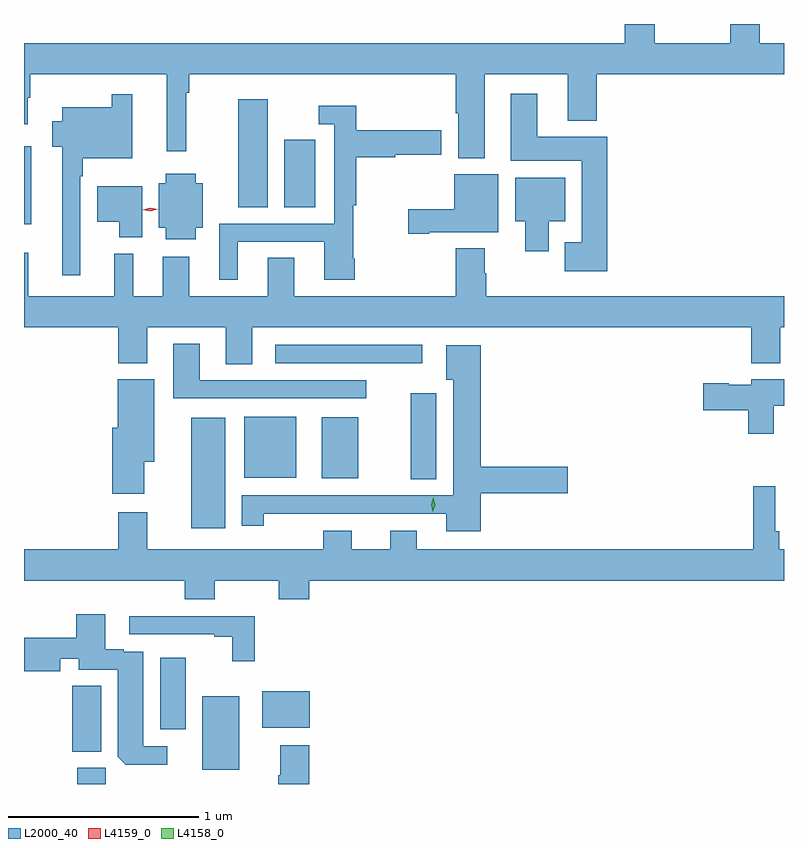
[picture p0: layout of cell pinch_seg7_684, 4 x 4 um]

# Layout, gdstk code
import gdstk
lib = gdstk.Library(unit=1e-6, precision=1e-09)
def R(c, l, rs):  # rectangles x0, y0, x1, y1
    for r in rs: c.add(gdstk.rectangle(r[:2], r[2:], *l))
def P(c, l, *ps):  # polygons
    for p in ps: c.add(gdstk.Polygon(p, *l))
L2000_40 = (2000, 40)
L4158_0 = (4158, 0)
L4159_0 = (4159, 0)

pinch_seg7_684 = lib.new_cell('pinch_seg7_684')
R(pinch_seg7_684, L2000_40, [(362.729,1000.877,362.879,1000.962), (363.386,1000.952,363.58,1001.338), (362.702,1001.047,362.854,1001.393), (363.164,1001.166,363.298,1001.542), (363.701,1001.174,363.952,1001.365), (363.329,1002.224,363.508,1002.805), (364.484,1002.481,364.618,1002.934), (364.016,1002.485,364.207,1002.808), (363.608,1002.488,363.88,1002.811), (363.771,1003.092,364.543,1003.188), (362.448,1003.823,362.485,1004.233), (363.575,1003.912,363.73,1004.482), (363.818,1003.912,363.982,1004.269)])
P(pinch_seg7_684, L2000_40, [(362.448,1004.349),(362.469,1004.349),(362.469,1004.489),(362.482,1004.489),(362.482,1004.612),(363.2,1004.612),(363.2,1004.208),(363.302,1004.208),(363.302,1004.516),(363.317,1004.516),(363.317,1004.612),(364.721,1004.612),(364.721,1004.407),(364.733,1004.407),(364.733,1004.171),(364.873,1004.171),(364.873,1004.612),(365.309,1004.612),(365.309,1004.369),(365.462,1004.369),(365.462,1004.612),(366.448,1004.612),(366.448,1004.776),(366.32,1004.776),(366.32,1004.877),(366.166,1004.877),(366.166,1004.776),(365.769,1004.776),(365.769,1004.877),(365.609,1004.877),(365.609,1004.776),(362.448,1004.776)],
  [(365.519,1004.284),(365.149,1004.284),(365.149,1004.509),(365.009,1004.509),(365.009,1004.156),(365.384,1004.156),(365.384,1003.729),(365.294,1003.729),(365.294,1003.577),(365.519,1003.577)],
  [(362.745,1004.075),(362.758,1004.075),(362.758,1004.171),(363.018,1004.171),(363.018,1004.506),(362.91,1004.506),(362.91,1004.44),(362.648,1004.44),(362.648,1004.365),(362.597,1004.365),(362.597,1004.231),(362.648,1004.231),(362.648,1003.554),(362.745,1003.554)],
  [(363.574,1003.731),(364.028,1003.731),(364.028,1003.53),(364.19,1003.53),(364.19,1003.642),(364.181,1003.642),(364.181,1003.924),(364.196,1003.924),(364.196,1004.177),(364.403,1004.177),(364.403,1004.189),(364.645,1004.189),(364.645,1004.319),(364.196,1004.319),(364.196,1004.446),(363.999,1004.446),(363.999,1004.349),(364.08,1004.349),(364.08,1003.827),(363.476,1003.827),(363.476,1003.53),(363.574,1003.53)],
  [(363.352,1003.805),(363.388,1003.805),(363.388,1004.038),(363.352,1004.038),(363.352,1004.089),(363.194,1004.089),(363.194,1004.038),(363.158,1004.038),(363.158,1003.805),(363.194,1003.805),(363.194,1003.745),(363.352,1003.745)],
  [(364.582,1003.781),(364.945,1003.781),(364.945,1004.086),(364.712,1004.086),(364.712,1003.903),(364.47,1003.903),(364.47,1003.774),(364.582,1003.774)],
  [(365.209,1003.838),(365.296,1003.838),(365.296,1004.068),(365.033,1004.068),(365.033,1003.838),(365.087,1003.838),(365.087,1003.68),(365.209,1003.68)],
  [(363.07,1004.023),(362.834,1004.023),(362.834,1003.835),(362.948,1003.835),(362.948,1003.754),(363.07,1003.754)],
  [(362.924,1003.669),(362.924,1003.444),(362.471,1003.444),(362.471,1003.672),(362.448,1003.672),(362.448,1003.28),(362.945,1003.28),(362.945,1003.091),(363.097,1003.091),(363.097,1003.28),(363.509,1003.28),(363.509,1003.087),(363.649,1003.087),(363.649,1003.28),(366.275,1003.28),(366.275,1003.091),(366.427,1003.091),(366.427,1003.28),(366.448,1003.28),(366.448,1003.444),(364.881,1003.444),(364.881,1003.565),(364.873,1003.565),(364.873,1003.696),(364.721,1003.696),(364.721,1003.444),(363.871,1003.444),(363.871,1003.646),(363.731,1003.646),(363.731,1003.444),(363.319,1003.444),(363.319,1003.651),(363.179,1003.651),(363.179,1003.444),(363.022,1003.444),(363.022,1003.669)],
  [(364.249,1003.002),(363.373,1003.002),(363.373,1003.195),(363.233,1003.195),(363.233,1002.906),(364.249,1002.906)],
  [(364.853,1002.406),(365.311,1002.406),(365.311,1002.548),(364.853,1002.548),(364.853,1003.186),(364.67,1003.186),(364.67,1003.004),(364.706,1003.004),(364.706,1002.396),(363.593,1002.396),(363.593,1002.237),(363.711,1002.237),(363.711,1002.299),(363.938,1002.299),(363.938,1002.3),(364.67,1002.3),(364.67,1002.206),(364.853,1002.206)],
  [(363.082,1002.572),(363.133,1002.572),(363.133,1003.006),(362.942,1003.006),(362.942,1002.753),(362.912,1002.753),(362.912,1002.405),(363.082,1002.405)],
  [(366.394,1002.868),(366.448,1002.868),(366.448,1003.006),(366.276,1003.006),(366.276,1002.979),(366.156,1002.979),(366.156,1002.987),(366.024,1002.987),(366.024,1002.845),(366.26,1002.845),(366.26,1002.72),(366.394,1002.72)],
  [(366.448,1002.112),(366.422,1002.112),(366.422,1002.208),(366.402,1002.208),(366.402,1002.445),(366.286,1002.445),(366.286,1002.112),(364.516,1002.112),(364.516,1002.211),(364.376,1002.211),(364.376,1002.112),(364.174,1002.112),(364.174,1002.211),(364.022,1002.211),(364.022,1002.112),(363.097,1002.112),(363.097,1002.307),(362.945,1002.307),(362.945,1002.112),(362.448,1002.112),(362.448,1001.948),(363.293,1001.948),(363.293,1001.849),(363.453,1001.849),(363.453,1001.948),(363.79,1001.948),(363.79,1001.849),(363.95,1001.849),(363.95,1001.948),(366.448,1001.948)],
  [(363.202,1001.076),(363.076,1001.076),(363.076,1001.574),(362.972,1001.574),(362.972,1001.587),(362.875,1001.587),(362.875,1001.77),(362.723,1001.77),(362.723,1001.647),(362.448,1001.647),(362.448,1001.471),(362.638,1001.471),(362.638,1001.537),(362.735,1001.537),(362.735,1001.478),(362.942,1001.478),(362.942,1001.02),(362.983,1000.979),(363.202,1000.979)],
  [(363.662,1001.76),(363.003,1001.76),(363.003,1001.664),(363.449,1001.664),(363.449,1001.652),(363.544,1001.652),(363.544,1001.523),(363.662,1001.523)],
  [(363.95,1001.08),(363.797,1001.08),(363.797,1000.922),(363.785,1000.922),(363.785,1000.877),(363.95,1000.877)])
P(pinch_seg7_684, L4158_0, [(364.6,1002.311),(364.6,1002.311),(364.591,1002.347),(364.603,1002.383),(364.603,1002.383),(364.603,1002.383),(364.612,1002.346),(364.6,1002.311)])
P(pinch_seg7_684, L4159_0, [(363.113,1003.891),(363.074,1003.899),(363.074,1003.9),(363.074,1003.9),(363.113,1003.911),(363.152,1003.903),(363.152,1003.902),(363.152,1003.902)])

lib.write_gds('pinch_seg7_684.gds')
